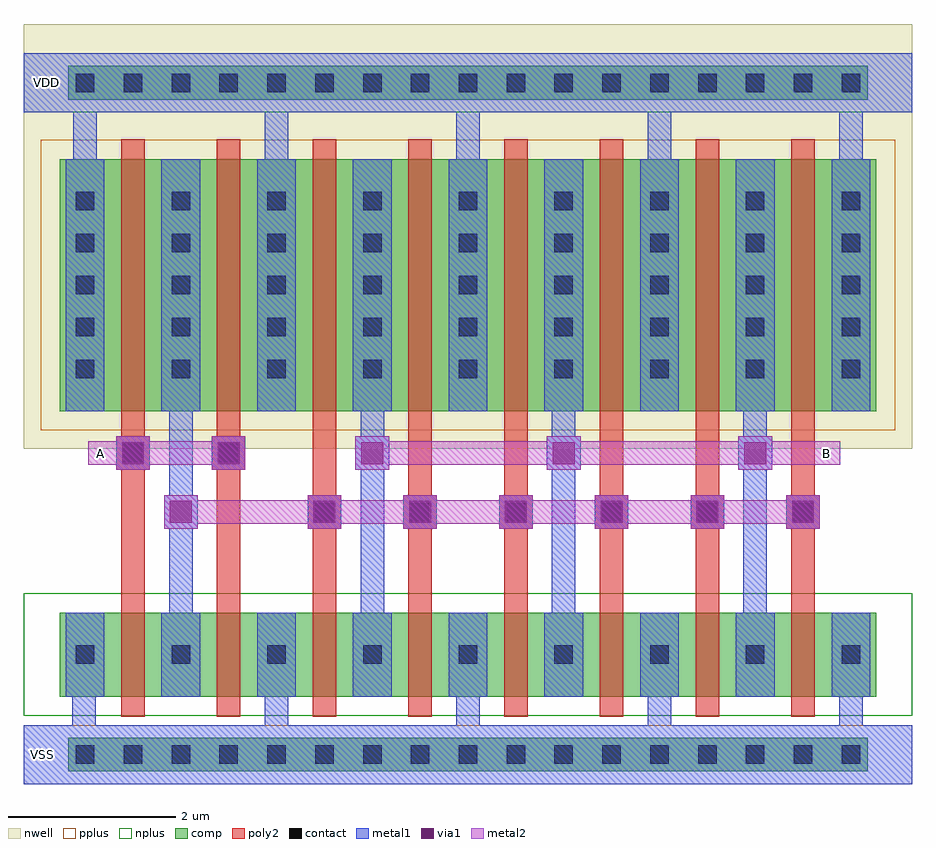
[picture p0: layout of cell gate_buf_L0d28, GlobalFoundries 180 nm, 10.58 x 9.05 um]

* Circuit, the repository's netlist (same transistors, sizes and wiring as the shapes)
** sch_path: /foss/designs/chipathon_2025/designs/gf180/gate_buf_L0d28/xschem/gate_buf_L0d28.sch
.subckt gate_buf_L0d28 VDD B A VSS
*.PININFO B:O A:I VDD:B VSS:B
MN1 net1 A VSS VSS nfet_03v3 L=0.28u W=1u nf=1 m=2
MP1 net1 A VDD VDD pfet_03v3 L=0.28u W=3u nf=1 m=2
MN2 B net1 VSS VSS nfet_03v3 L=0.28u W=1u nf=1 m=6
MP2 B net1 VDD VDD pfet_03v3 L=0.28u W=3u nf=1 m=6
.ends

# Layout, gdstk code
import gdstk
lib = gdstk.Library(unit=1e-6, precision=5e-09)
def R(c, l, rs):  # rectangles x0, y0, x1, y1
    for r in rs: c.add(gdstk.rectangle(r[:2], r[2:], *l))
def A(c, l, x, y, w, h, nx, ny, dx, dy):  # array of equal rectangles
    R(c, l, [(x+i*dx, y+j*dy, x+i*dx+w, y+j*dy+h) for i in range(nx) for j in range(ny)])
nwell = (21, 0)
comp = (22, 0)
poly2 = (30, 0)
pplus = (31, 0)
nplus = (32, 0)
contact = (33, 0)
metal1 = (34, 0)
via1 = (35, 0)
metal2 = (36, 0)

via_dev = lib.new_cell('via_dev')
R(via_dev, comp, [(0,0,0.4,0.4)])
R(via_dev, contact, [(0.09,0.09,0.31,0.31)])
R(via_dev, metal1, [(0,0,0.4,0.4)])

gate_buf_l0d28 = lib.new_cell('gate_buf_L0d28')
A(gate_buf_l0d28, nwell, 0.08, 3.99, 3.58, 3.72, 3, 1, 2.28, 0)
R(gate_buf_l0d28, nwell, [(0,3.99,6.5,9.05), (6.5,3.99,10.58,9.05)])
A(gate_buf_l0d28, comp, 0.53, 0.15, 2.11, 0.4, 4, 2, 1.71, 8)
A(gate_buf_l0d28, comp, 0.43, 1.04, 2.88, 1, 4, 1, 2.28, 0)
A(gate_buf_l0d28, comp, 0.43, 4.44, 2.88, 3, 4, 1, 2.28, 0)
R(gate_buf_l0d28, comp, [(7.37,0.15,10.05,0.55), (7.37,8.15,10.05,8.55)])
A(gate_buf_l0d28, poly2, 1.16, 0.8, 0.28, 1.48, 8, 1, 1.14, 0)
A(gate_buf_l0d28, poly2, 3.38, 3.04, 0.4, 0.4, 6, 1, 1.14, 0)
A(gate_buf_l0d28, poly2, 1.16, 4.2, 0.28, 3.48, 8, 1, 1.14, 0)
R(gate_buf_l0d28, poly2, [(1.1,3.74,1.5,4.14), (2.24,3.74,2.64,4.14)])
A(gate_buf_l0d28, pplus, 0.2, 4.21, 3.34, 3.46, 4, 1, 2.28, 0)
R(gate_buf_l0d28, pplus, [(0,0,10.58,0.7)])
R(gate_buf_l0d28, nplus, [(0,0.81,3.54,2.27), (2.48,0.81,5.82,2.27), (2.72,0.81,6.5,2.27), (4.76,0.81,8.1,2.27), (6.5,0.81,10.28,2.27), (7.04,0.81,10.58,2.27), (0,8,10.58,8.7)])
A(gate_buf_l0d28, contact, 0.62, 1.43, 0.22, 0.22, 3, 2, 1.14, 3.4)
A(gate_buf_l0d28, contact, 2.9, 1.43, 0.22, 0.22, 3, 2, 1.14, 3.4)
A(gate_buf_l0d28, contact, 5.18, 1.43, 0.22, 0.22, 3, 2, 1.14, 3.4)
A(gate_buf_l0d28, contact, 7.46, 1.43, 0.22, 0.22, 3, 2, 1.14, 3.4)
A(gate_buf_l0d28, contact, 3.47, 3.13, 0.22, 0.22, 6, 1, 1.14, 0)
A(gate_buf_l0d28, contact, 0.62, 4.83, 0.22, 0.22, 1, 5, 0, 0.5)
A(gate_buf_l0d28, contact, 9.74, 4.83, 0.22, 0.22, 1, 5, 0, 0.5)
A(gate_buf_l0d28, contact, 0.62, 5.33, 0.22, 0.22, 3, 4, 1.14, 0.5)
A(gate_buf_l0d28, contact, 2.9, 5.33, 0.22, 0.22, 3, 4, 1.14, 0.5)
A(gate_buf_l0d28, contact, 5.18, 5.33, 0.22, 0.22, 3, 4, 1.14, 0.5)
A(gate_buf_l0d28, contact, 7.46, 5.33, 0.22, 0.22, 3, 4, 1.14, 0.5)
R(gate_buf_l0d28, contact, [(0.62,1.43,0.84,1.65), (9.74,1.43,9.96,1.65), (1.19,3.83,1.41,4.05), (2.33,3.83,2.55,4.05)])
A(gate_buf_l0d28, metal1, 0.5, 1.04, 0.46, 1, 3, 1, 1.14, 0)
A(gate_buf_l0d28, metal1, 2.78, 1.04, 0.46, 1, 3, 1, 1.14, 0)
A(gate_buf_l0d28, metal1, 5.06, 1.04, 0.46, 1, 3, 1, 1.14, 0)
A(gate_buf_l0d28, metal1, 7.34, 1.04, 0.46, 1, 3, 1, 1.14, 0)
A(gate_buf_l0d28, metal1, 0.5, 1.31, 0.46, 0.46, 3, 2, 1.14, 3.4)
A(gate_buf_l0d28, metal1, 2.78, 1.31, 0.46, 0.46, 3, 2, 1.14, 3.4)
A(gate_buf_l0d28, metal1, 5.06, 1.31, 0.46, 0.46, 3, 2, 1.14, 3.4)
A(gate_buf_l0d28, metal1, 7.34, 1.31, 0.46, 0.46, 3, 2, 1.14, 3.4)
A(gate_buf_l0d28, metal1, 3.38, 3.04, 0.4, 0.4, 6, 1, 1.14, 0)
A(gate_buf_l0d28, metal1, 3.95, 3.74, 0.4, 0.4, 3, 1, 2.28, 0)
A(gate_buf_l0d28, metal1, 0.5, 4.44, 0.46, 3, 3, 1, 1.14, 0)
A(gate_buf_l0d28, metal1, 2.78, 4.44, 0.46, 3, 3, 1, 1.14, 0)
A(gate_buf_l0d28, metal1, 5.06, 4.44, 0.46, 3, 3, 1, 1.14, 0)
A(gate_buf_l0d28, metal1, 7.34, 4.44, 0.46, 3, 3, 1, 1.14, 0)
A(gate_buf_l0d28, metal1, 0.5, 4.71, 0.46, 0.46, 1, 5, 0, 0.5)
A(gate_buf_l0d28, metal1, 9.62, 4.71, 0.46, 0.46, 1, 5, 0, 0.5)
A(gate_buf_l0d28, metal1, 0.5, 5.21, 0.46, 0.46, 3, 4, 1.14, 0.5)
A(gate_buf_l0d28, metal1, 2.78, 5.21, 0.46, 0.46, 3, 4, 1.14, 0.5)
A(gate_buf_l0d28, metal1, 5.06, 5.21, 0.46, 0.46, 3, 4, 1.14, 0.5)
A(gate_buf_l0d28, metal1, 7.34, 5.21, 0.46, 0.46, 3, 4, 1.14, 0.5)
R(gate_buf_l0d28, metal1, [(0.5,1.04,0.96,2.04), (9.62,1.04,10.08,2.04), (0.5,1.31,0.96,1.77), (9.62,1.31,10.08,1.77), (1.67,3.04,2.07,3.44), (1.1,3.74,1.5,4.14), (2.24,3.74,2.64,4.14), (0.5,4.44,0.96,7.44), (9.62,4.44,10.08,7.44)])
A(gate_buf_l0d28, via1, 3.45, 3.11, 0.26, 0.26, 6, 1, 1.14, 0)
A(gate_buf_l0d28, via1, 4.02, 3.81, 0.26, 0.26, 3, 1, 2.28, 0)
R(gate_buf_l0d28, via1, [(1.74,3.11,2,3.37), (1.17,3.81,1.43,4.07), (2.31,3.81,2.57,4.07)])
A(gate_buf_l0d28, metal2, 3.38, 3.04, 0.4, 0.4, 6, 1, 1.14, 0)
A(gate_buf_l0d28, metal2, 3.95, 3.74, 0.4, 0.4, 3, 1, 2.28, 0)
R(gate_buf_l0d28, metal2, [(1.67,3.04,2.07,3.44), (1.1,3.74,1.5,4.14), (2.24,3.74,2.64,4.14)])
gate_buf_l0d28.add(gdstk.FlexPath([(0,0.35),(10.58,0.35)], 0.7, ends="flush", simple_path=True, layer=34, datatype=0))  # metal1
gate_buf_l0d28.add(gdstk.FlexPath([(0,8.35),(10.58,8.35)], 0.7, ends="flush", simple_path=True, layer=34, datatype=0))  # metal1
gate_buf_l0d28.add(gdstk.FlexPath([(0.72,2.04),(0.72,0)], 0.28, ends="flush", simple_path=True, layer=34, datatype=0))  # metal1
gate_buf_l0d28.add(gdstk.FlexPath([(0.73,8.7),(0.73,4.44)], 0.28, ends="flush", simple_path=True, layer=34, datatype=0))  # metal1
gate_buf_l0d28.add(gdstk.FlexPath([(3.01,2.04),(3.01,0)], 0.28, ends="flush", simple_path=True, layer=34, datatype=0))  # metal1
gate_buf_l0d28.add(gdstk.FlexPath([(5.29,2.04),(5.29,0)], 0.28, ends="flush", simple_path=True, layer=34, datatype=0))  # metal1
gate_buf_l0d28.add(gdstk.FlexPath([(7.57,2.04),(7.57,0)], 0.28, ends="flush", simple_path=True, layer=34, datatype=0))  # metal1
gate_buf_l0d28.add(gdstk.FlexPath([(9.85,2.04),(9.85,0)], 0.28, ends="flush", simple_path=True, layer=34, datatype=0))  # metal1
gate_buf_l0d28.add(gdstk.FlexPath([(1.87,7.35),(1.87,1.04)], 0.28, ends="flush", simple_path=True, layer=34, datatype=0))  # metal1
gate_buf_l0d28.add(gdstk.FlexPath([(4.15,7.35),(4.15,1.04)], 0.28, ends="flush", simple_path=True, layer=34, datatype=0))  # metal1
gate_buf_l0d28.add(gdstk.FlexPath([(6.43,7.35),(6.43,1.04)], 0.28, ends="flush", simple_path=True, layer=34, datatype=0))  # metal1
gate_buf_l0d28.add(gdstk.FlexPath([(8.71,7.35),(8.71,1.04)], 0.28, ends="flush", simple_path=True, layer=34, datatype=0))  # metal1
gate_buf_l0d28.add(gdstk.FlexPath([(5.29,8.7),(5.29,4.44)], 0.28, ends="flush", simple_path=True, layer=34, datatype=0))  # metal1
gate_buf_l0d28.add(gdstk.FlexPath([(7.57,8.7),(7.57,4.44)], 0.28, ends="flush", simple_path=True, layer=34, datatype=0))  # metal1
gate_buf_l0d28.add(gdstk.FlexPath([(9.85,8.7),(9.85,4.44)], 0.28, ends="flush", simple_path=True, layer=34, datatype=0))  # metal1
gate_buf_l0d28.add(gdstk.FlexPath([(3.01,8.7),(3.01,4.44)], 0.28, ends="flush", simple_path=True, layer=34, datatype=0))  # metal1
gate_buf_l0d28.add(gdstk.FlexPath([(9.48,3.24),(1.73,3.24)], 0.28, ends="flush", simple_path=True, layer=36, datatype=0))  # metal2
gate_buf_l0d28.add(gdstk.FlexPath([(9.72,3.94),(4.01,3.94)], 0.28, ends="flush", simple_path=True, layer=36, datatype=0))  # metal2
gate_buf_l0d28.add(gdstk.FlexPath([(2.64,3.94),(0.77,3.94)], 0.28, ends="flush", simple_path=True, layer=36, datatype=0))  # metal2
gate_buf_l0d28.add(gdstk.FlexPath([(2.44,4.2),(2.44,2.28)], 0.28, ends="flush", simple_path=True, layer=30, datatype=0))  # poly2
gate_buf_l0d28.add(gdstk.FlexPath([(3.58,4.2),(3.58,2.28)], 0.28, ends="flush", simple_path=True, layer=30, datatype=0))  # poly2
gate_buf_l0d28.add(gdstk.FlexPath([(4.72,4.2),(4.72,2.28)], 0.28, ends="flush", simple_path=True, layer=30, datatype=0))  # poly2
gate_buf_l0d28.add(gdstk.FlexPath([(5.86,4.2),(5.86,2.28)], 0.28, ends="flush", simple_path=True, layer=30, datatype=0))  # poly2
gate_buf_l0d28.add(gdstk.FlexPath([(7,4.2),(7,2.28)], 0.28, ends="flush", simple_path=True, layer=30, datatype=0))  # poly2
gate_buf_l0d28.add(gdstk.FlexPath([(8.14,4.2),(8.14,2.28)], 0.28, ends="flush", simple_path=True, layer=30, datatype=0))  # poly2
gate_buf_l0d28.add(gdstk.FlexPath([(9.28,4.2),(9.28,2.28)], 0.28, ends="flush", simple_path=True, layer=30, datatype=0))  # poly2
gate_buf_l0d28.add(gdstk.FlexPath([(1.3,4.2),(1.3,2.28)], 0.28, ends="flush", simple_path=True, layer=30, datatype=0))  # poly2
gate_buf_l0d28.add(gdstk.Reference(via_dev, (9.65,0.15)))
gate_buf_l0d28.add(gdstk.Reference(via_dev, (7.37,0.15)))
gate_buf_l0d28.add(gdstk.Reference(via_dev, (9.08,0.15)))
gate_buf_l0d28.add(gdstk.Reference(via_dev, (8.51,0.15)))
gate_buf_l0d28.add(gdstk.Reference(via_dev, (7.94,0.15)))
gate_buf_l0d28.add(gdstk.Reference(via_dev, (7.37,0.15)))
gate_buf_l0d28.add(gdstk.Reference(via_dev, (5.66,0.15)))
gate_buf_l0d28.add(gdstk.Reference(via_dev, (7.37,0.15)))
gate_buf_l0d28.add(gdstk.Reference(via_dev, (6.8,0.15)))
gate_buf_l0d28.add(gdstk.Reference(via_dev, (6.23,0.15)))
gate_buf_l0d28.add(gdstk.Reference(via_dev, (3.95,0.15)))
gate_buf_l0d28.add(gdstk.Reference(via_dev, (5.66,0.15)))
gate_buf_l0d28.add(gdstk.Reference(via_dev, (5.09,0.15)))
gate_buf_l0d28.add(gdstk.Reference(via_dev, (4.52,0.15)))
gate_buf_l0d28.add(gdstk.Reference(via_dev, (2.24,0.15)))
gate_buf_l0d28.add(gdstk.Reference(via_dev, (3.95,0.15)))
gate_buf_l0d28.add(gdstk.Reference(via_dev, (3.38,0.15)))
gate_buf_l0d28.add(gdstk.Reference(via_dev, (2.81,0.15)))
gate_buf_l0d28.add(gdstk.Reference(via_dev, (0.53,0.15)))
gate_buf_l0d28.add(gdstk.Reference(via_dev, (2.24,0.15)))
gate_buf_l0d28.add(gdstk.Reference(via_dev, (1.67,0.15)))
gate_buf_l0d28.add(gdstk.Reference(via_dev, (1.1,0.15)))
gate_buf_l0d28.add(gdstk.Reference(via_dev, (9.65,8.15)))
gate_buf_l0d28.add(gdstk.Reference(via_dev, (7.37,8.15)))
gate_buf_l0d28.add(gdstk.Reference(via_dev, (9.08,8.15)))
gate_buf_l0d28.add(gdstk.Reference(via_dev, (8.51,8.15)))
gate_buf_l0d28.add(gdstk.Reference(via_dev, (7.94,8.15)))
gate_buf_l0d28.add(gdstk.Reference(via_dev, (7.37,8.15)))
gate_buf_l0d28.add(gdstk.Reference(via_dev, (5.66,8.15)))
gate_buf_l0d28.add(gdstk.Reference(via_dev, (7.37,8.15)))
gate_buf_l0d28.add(gdstk.Reference(via_dev, (6.8,8.15)))
gate_buf_l0d28.add(gdstk.Reference(via_dev, (6.23,8.15)))
gate_buf_l0d28.add(gdstk.Reference(via_dev, (3.95,8.15)))
gate_buf_l0d28.add(gdstk.Reference(via_dev, (5.66,8.15)))
gate_buf_l0d28.add(gdstk.Reference(via_dev, (5.09,8.15)))
gate_buf_l0d28.add(gdstk.Reference(via_dev, (4.52,8.15)))
gate_buf_l0d28.add(gdstk.Reference(via_dev, (2.24,8.15)))
gate_buf_l0d28.add(gdstk.Reference(via_dev, (3.95,8.15)))
gate_buf_l0d28.add(gdstk.Reference(via_dev, (3.38,8.15)))
gate_buf_l0d28.add(gdstk.Reference(via_dev, (2.81,8.15)))
gate_buf_l0d28.add(gdstk.Reference(via_dev, (0.53,8.15)))
gate_buf_l0d28.add(gdstk.Reference(via_dev, (2.24,8.15)))
gate_buf_l0d28.add(gdstk.Reference(via_dev, (1.67,8.15)))
gate_buf_l0d28.add(gdstk.Reference(via_dev, (1.1,8.15)))
gate_buf_l0d28.add(gdstk.Label('B', (9.56,3.94), layer=36, texttype=10))
gate_buf_l0d28.add(gdstk.Label('A', (0.91,3.94), layer=36, texttype=10))
gate_buf_l0d28.add(gdstk.Label('VSS', (0.22,0.35), layer=34, texttype=10))
gate_buf_l0d28.add(gdstk.Label('VDD', (0.275,8.35), layer=34, texttype=10))

lib.write_gds('gate_buf_L0d28.gds')
